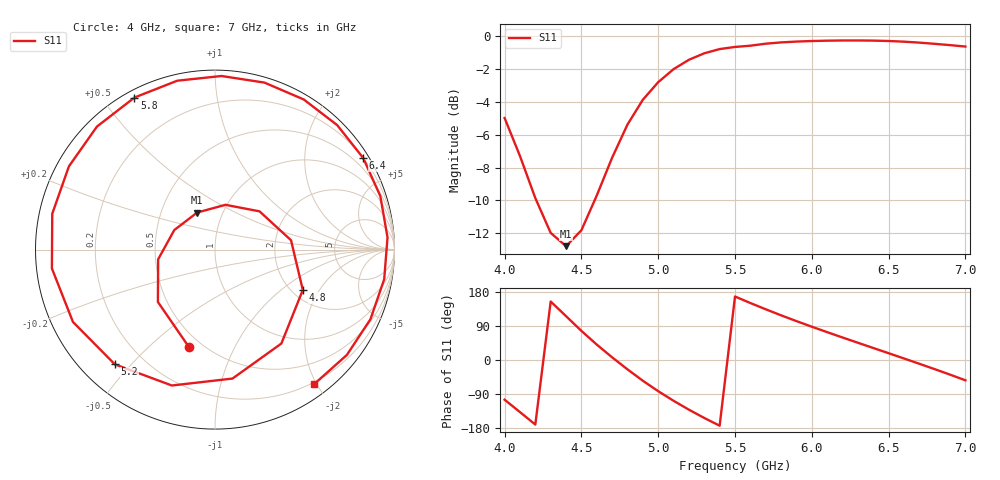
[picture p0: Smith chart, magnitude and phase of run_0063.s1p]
! Touchstone file exported from HFSS 2024.2.0
!  File:  C:/Users/wsak9/Desktop/Sim Fast/Widenad Patch/WP_AI_V1_sweep.aedt
!  Generated:  05:33:18 PM Oct 13, 2026
!  Design:  A1_model
!  Project:  WP_AI_V1_sweep
!  Setup:  Setup1
!  Solution:  Sweep
! Variables:
!  Air_gap = 4.62mm
!  Curve_Amp1 = 1.47
!  Curve_len1 = 1
!  Curve_pos = 13.45mm
!  Extra = 4.23mm
!  H_sub = 0.79mm
!  L_Patch = 22.9mm
!  L_Patch1 = 19.6mm
!  Sx = 1.04mm
!  Sy = 2.74mm
!  WS = 1.3mm
!  W_Patch = 13.14mm
!  W_Patch1 = 15.37mm
!Data is not renormalized
# GHz S MA
! Terminal data exported
! Port[1] = 1
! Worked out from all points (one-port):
!   31 points, 4 GHz to 7 GHz, reference per port
!   lowest |S11| = -12.8 dB at 4.4 GHz (marker M1), VSWR 1.59
!   |S11| at or under -10 dB: 4.206 GHz to 4.586 GHz (379.7 MHz wide, 8.64 % of centre)
!   S11 on the Smith chart (normalised r, x): 4 GHz: 0.42, -0.68; 4.8 GHz: 2.28, -1.44; 5.2 GHz: 0.10, -0.45; 5.8 GHz: 0.03, +0.60; 6.4 GHz: 0.20, +3.51; 7 GHz: 0.17, -1.97
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4  0.5637 -104.8
4.1  0.4316 -137.5
4.2  0.3213 -170.3
4.3  0.2516 154.4
4.4  0.2292 115.7
4.5  0.2563 76.8
4.6  0.3271 40.7
4.7  0.4267 7.0
4.8  0.5385 -24.7
4.9  0.6408 -54.8
5  0.7251 -82.3
5.1  0.7944 -107.6
5.2  0.8486 -131.1
5.3  0.8881 -153.0
5.4  0.9147 -173.4
5.5  0.9285 167.6
5.6  0.9368 150.3
5.7  0.95 133.8
5.8  0.9587 117.9
5.9  0.9642 102.6
6  0.9679 87.9
6.1  0.9703 73.5
6.3  0.9718 45.5
6.4  0.9708 31.7
6.6  0.9636 4.0
6.7  0.9571 -9.9
6.8  0.9491 -24.1
7  0.9311 -53.6
